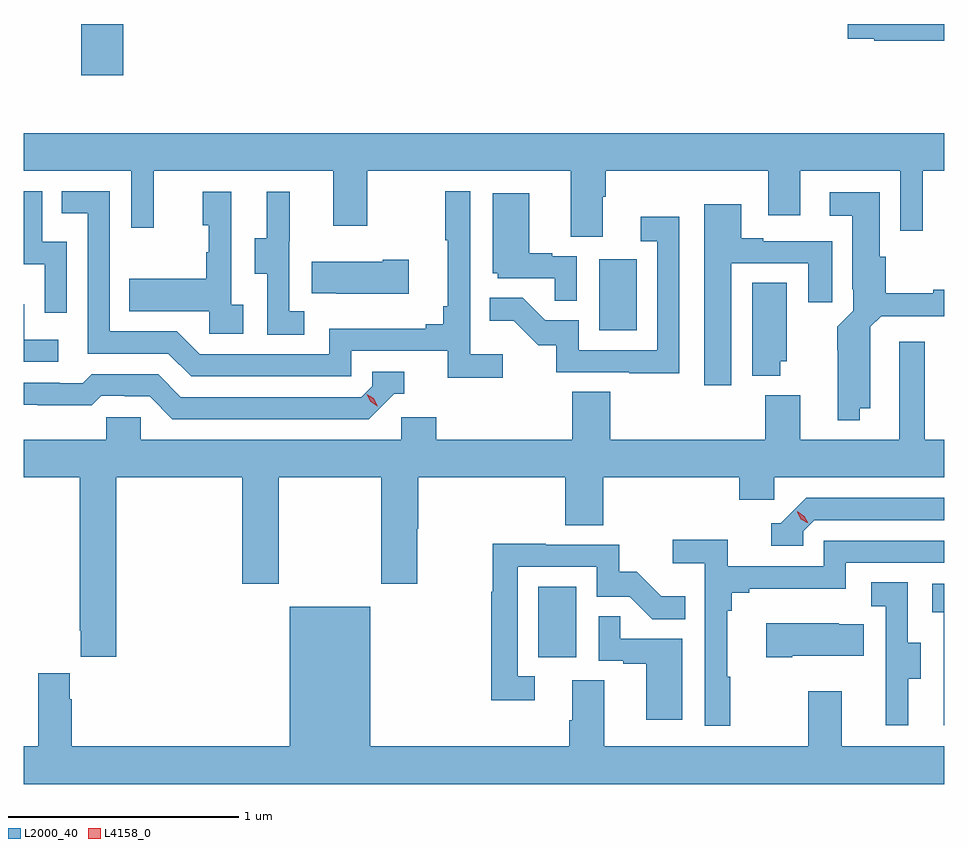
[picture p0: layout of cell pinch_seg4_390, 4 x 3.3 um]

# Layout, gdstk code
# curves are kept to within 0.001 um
import gdstk
lib = gdstk.Library(unit=1e-6, precision=1e-09)
def R(c, l, rs):  # rectangles x0, y0, x1, y1
    for r in rs: c.add(gdstk.rectangle(r[:2], r[2:], *l))
def P(c, l, *ps):  # polygons
    for p in ps: c.add(gdstk.Polygon(p, *l))
L2000_40 = (2000, 40)
L4158_0 = (4158, 0)

pinch_seg4_390 = lib.new_cell('pinch_seg4_390')
R(pinch_seg4_390, L2000_40, [(973.4,788.046,973.564,788.353), (973.664,789.468,973.828,789.775), (971.414,790.575,971.597,790.798)])
P(pinch_seg4_390, L2000_40, [(975.164,790.798),(974.744,790.798),(974.744,790.733),(974.86,790.733),(974.86,790.726),(975.164,790.726)],
  [(973.681,790.048),(973.694,790.048),(973.694,790.16),(974.399,790.16),(974.399,789.966),(974.539,789.966),(974.539,790.16),(974.973,790.16),(974.973,789.9),(975.071,789.9),(975.071,790.16),(975.164,790.16),(975.164,790.324),(971.164,790.324),(971.164,790.16),(971.631,790.16),(971.631,789.912),(971.729,789.912),(971.729,790.16),(972.509,790.16),(972.509,789.921),(972.657,789.921),(972.657,790.16),(973.541,790.16),(973.541,789.874),(973.681,789.874)],
  [(973.246,789.364),(973.104,789.364),(973.104,790.072),(972.996,790.072),(972.996,789.859),(973.007,789.859),(973.007,789.571),(972.988,789.571),(972.988,789.494),(972.911,789.494),(972.911,789.475),(972.492,789.475),(972.492,789.363),(971.928,789.363),(971.829,789.462),(971.538,789.462),(971.538,790.071),(971.329,790.071),(971.329,789.975),(971.442,789.975),(971.442,789.366),(971.792,789.366),(971.891,789.267),(972.588,789.267),(972.588,789.378),(973.007,789.378),(973.007,789.262),(973.246,789.262)],
  [(971.352,789.852),(971.244,789.852),(971.244,790.071),(971.164,790.071),(971.164,789.755),(971.256,789.755),(971.256,789.543),(971.352,789.543)],
  [(972.382,789.551),(972.318,789.551),(972.318,789.855),(972.32,789.855),(972.32,790.069),(972.221,790.069),(972.221,789.867),(972.167,789.867),(972.167,789.712),(972.222,789.712),(972.222,789.448),(972.382,789.448)],
  [(972.118,789.578),(972.066,789.578),(972.066,790.069),(971.942,790.069),(971.942,789.924),(971.968,789.924),(971.968,789.806),(971.958,789.806),(971.958,789.691),(971.623,789.691),(971.623,789.551),(971.97,789.551),(971.97,789.453),(972.118,789.453)],
  [(974.797,789.128),(974.842,789.128),(974.843,789.482),(974.889,789.528),(975.164,789.528),(975.164,789.644),(975.116,789.644),(975.116,789.629),(974.91,789.629),(974.91,789.786),(974.884,789.786),(974.884,790.066),(974.667,790.066),(974.667,789.965),(974.765,789.965),(974.765,789.646),(974.769,789.646),(974.769,789.552),(974.699,789.482),(974.7,789.077),(974.797,789.077)],
  [(973.566,789.789),(973.46,789.789),(973.46,789.802),(973.36,789.802),(973.36,790.063),(973.202,790.063),(973.202,789.714),(973.224,789.714),(973.224,789.693),(973.471,789.693),(973.471,789.595),(973.566,789.595)],
  [(974.239,789.759),(974.573,789.759),(974.573,789.588),(974.677,789.588),(974.677,789.855),(974.377,789.855),(974.377,789.868),(974.281,789.868),(974.281,790.015),(974.12,790.015),(974.12,789.228),(974.239,789.228)],
  [(974.013,789.961),(973.845,789.961),(973.845,789.855),(973.917,789.855),(973.917,789.381),(973.575,789.381),(973.575,789.51),(973.431,789.51),(973.333,789.608),(973.189,789.608),(973.189,789.509),(973.293,789.509),(973.4,789.402),(973.477,789.402),(973.477,789.285),(973.795,789.285),(973.795,789.28),(974.013,789.28)],
  [(972.838,789.774),(972.725,789.774),(972.725,789.766),(972.415,789.766),(972.415,789.629),(972.523,789.629),(972.523,789.626),(972.838,789.626)],
  [(974.452,789.333),(974.479,789.333),(974.479,789.674),(974.33,789.674),(974.33,789.269),(974.452,789.269)],
  [(971.314,789.426),(971.166,789.426),(971.166,789.58),(971.164,789.58),(971.164,789.33),(971.314,789.33)],
  [(972.873,788.606),(972.878,788.606),(972.878,788.828),(973.517,788.828),(973.517,788.62),(973.682,788.62),(973.682,788.828),(974.273,788.828),(974.273,788.73),(974.424,788.73),(974.424,788.828),(975.164,788.828),(975.164,788.992),(975.079,788.992),(975.079,789.418),(974.969,789.418),(974.969,788.992),(974.539,788.992),(974.539,789.184),(974.387,789.184),(974.387,788.992),(973.712,788.992),(973.712,789.2),(973.547,789.2),(973.547,788.992),(972.956,788.992),(972.956,789.09),(972.804,789.09),(972.804,788.992),(971.673,788.992),(971.673,789.09),(971.523,789.09),(971.523,788.992),(971.164,788.992),(971.164,788.828),(971.407,788.828),(971.407,788.161),(971.411,788.161),(971.411,788.049),(971.567,788.049),(971.567,788.828),(972.113,788.828),(972.113,788.367),(972.273,788.367),(972.273,788.828),(972.718,788.828),(972.718,788.367),(972.873,788.367)],
  [(972.774,789.192),(972.817,789.192),(972.817,789.288),(972.678,789.288),(972.678,789.225),(972.63,789.177),(971.847,789.177),(971.748,789.276),(971.459,789.276),(971.42,789.237),(971.321,789.237),(971.321,789.24),(971.164,789.24),(971.164,789.143),(971.226,789.143),(971.226,789.141),(971.459,789.141),(971.501,789.183),(971.604,789.183),(971.604,789.18),(971.711,789.18),(971.81,789.081),(972.663,789.081)],
  [(974.55,788.595),(974.598,788.643),(975.164,788.643),(975.164,788.739),(974.565,788.739),(974.454,788.628),(974.411,788.628),(974.411,788.532),(974.55,788.532)],
  [(974.233,787.961),(974.221,787.961),(974.221,788.249),(974.24,788.249),(974.24,788.326),(974.317,788.326),(974.317,788.345),(974.736,788.345),(974.736,788.457),(975.164,788.457),(975.164,788.553),(974.64,788.553),(974.64,788.442),(974.222,788.442),(974.222,788.558),(973.983,788.558),(973.983,788.456),(974.124,788.456),(974.124,787.749),(974.233,787.749)],
  [(973.384,787.965),(973.311,787.965),(973.311,788.439),(973.653,788.439),(973.653,788.31),(973.797,788.31),(973.895,788.212),(974.039,788.212),(974.039,788.311),(973.935,788.311),(973.828,788.418),(973.752,788.418),(973.752,788.535),(973.433,788.535),(973.433,788.54),(973.203,788.54),(973.203,788.332),(973.195,788.332),(973.195,787.86),(973.384,787.86)],
  [(975.007,787.954),(975.061,787.954),(975.061,788.109),(975.006,788.109),(975.006,788.372),(974.847,788.372),(974.847,788.269),(974.91,788.269),(974.91,787.965),(974.909,787.965),(974.909,787.752),(975.007,787.752)],
  [(975.164,788.367),(975.111,788.367),(975.111,788.243),(975.162,788.243),(975.162,787.752),(975.164,787.752)],
  [(975.164,787.66),(974.719,787.66),(974.719,787.9),(974.572,787.9),(974.572,787.66),(973.687,787.66),(973.687,787.946),(973.547,787.946),(973.547,787.772),(973.535,787.772),(973.535,787.66),(972.67,787.66),(972.67,788.266),(972.32,788.266),(972.32,787.66),(971.372,787.66),(971.372,787.865),(971.365,787.865),(971.365,787.978),(971.228,787.978),(971.228,787.66),(971.164,787.66),(971.164,787.496),(975.164,787.496)],
  [(974.026,788.127),(973.757,788.127),(973.757,788.225),(973.662,788.225),(973.662,788.031),(973.769,788.031),(973.769,788.019),(973.868,788.019),(973.868,787.776),(974.026,787.776)],
  [(974.503,788.054),(974.813,788.054),(974.813,788.191),(974.705,788.191),(974.705,788.194),(974.391,788.194),(974.391,788.047),(974.503,788.047)])
P(pinch_seg4_390, L4158_0, [(974.572,788.628),(974.541,788.647),(974.525,788.679),(974.525,788.68),(974.526,788.68),(974.556,788.66),(974.572,788.628),(974.572,788.628)],
  [(972.7,789.138),(972.67,789.158),(972.654,789.19),(972.654,789.19),(972.654,789.19),(972.684,789.171),(972.7,789.139),(972.7,789.138)])

lib.write_gds('pinch_seg4_390.gds')
